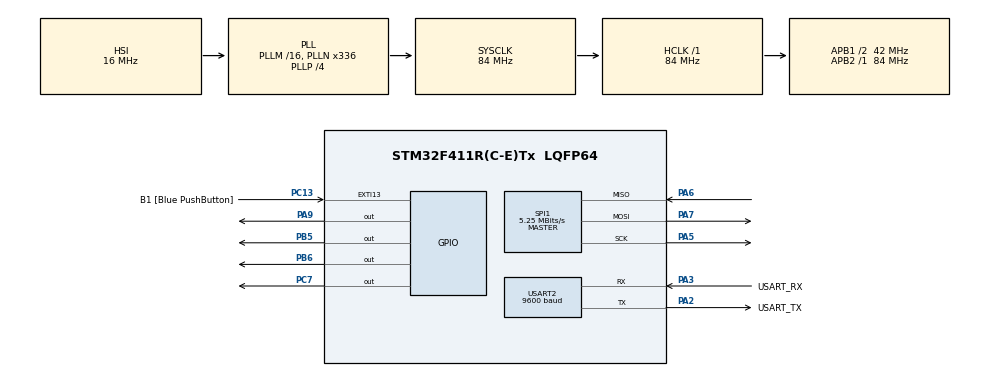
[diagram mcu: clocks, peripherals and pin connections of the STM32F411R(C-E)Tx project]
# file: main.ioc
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Mcu.Family=STM32F4
Mcu.Name=STM32F411R(C-E)Tx
Mcu.Package=LQFP64
NVIC.PriorityGroup=NVIC_PRIORITYGROUP_0
PA13.GPIO_Label=TMS
PA13.Signal=SYS_JTMS-SWDIO
PA14.GPIO_Label=TCK
PA14.Signal=SYS_JTCK-SWCLK
PA2.GPIO_Label=USART_TX
PA2.Mode=Asynchronous
PA2.Signal=USART2_TX
PA3.GPIO_Label=USART_RX
PA3.Mode=Asynchronous
PA3.Signal=USART2_RX
PA5.Mode=Full_Duplex_Master
PA5.Signal=SPI1_SCK
PA6.Mode=Full_Duplex_Master
PA6.Signal=SPI1_MISO
PA7.Mode=Full_Duplex_Master
PA7.Signal=SPI1_MOSI
PA9.Signal=GPIO_Output
PB3.GPIO_Label=SWO
PB3.Signal=SYS_JTDO-SWO
PB5.Signal=GPIO_Output
PB6.Signal=GPIO_Output
PC13-ANTI_TAMP.GPIO_Label=B1 [Blue PushButton]
PC13-ANTI_TAMP.GPIO_ModeDefaultEXTI=GPIO_MODE_IT_FALLING
PC13-ANTI_TAMP.Signal=GPXTI13
PC14-OSC32_IN.Signal=RCC_OSC32_IN
PC15-OSC32_OUT.Signal=RCC_OSC32_OUT
PC7.Signal=GPIO_Output
PH0\ -\ OSC_IN.Signal=RCC_OSC_IN
PH1\ -\ OSC_OUT.Signal=RCC_OSC_OUT
ProjectManager.HeapSize=0x200
ProjectManager.StackSize=0x400
ProjectManager.TargetToolchain=Makefile
RCC.48MHZClocksFreq_Value=84000000
RCC.AHBFreq_Value=84000000
RCC.APB1CLKDivider=RCC_HCLK_DIV2
RCC.APB1Freq_Value=42000000
RCC.APB1TimFreq_Value=84000000
RCC.APB2Freq_Value=84000000
RCC.APB2TimFreq_Value=84000000
RCC.CortexFreq_Value=84000000
RCC.FLatency-AdvancedSettings=FLASH_LATENCY_2
RCC.HCLKFreq_Value=84000000
RCC.HSE_VALUE=8000000
RCC.HSI_VALUE=16000000
RCC.LSE_VALUE=32768
RCC.PLLN=336
RCC.PLLP=RCC_PLLP_DIV4
RCC.SYSCLKFreq_VALUE=84000000
RCC.SYSCLKSource=RCC_SYSCLKSOURCE_PLLCLK
RCC.VCOOutputFreq_Value=336000000
SPI1.BaudRatePrescaler=SPI_BAUDRATEPRESCALER_16
SPI1.CalculateBaudRate=5.25 MBits/s
SPI1.Direction=SPI_DIRECTION_2LINES
SPI1.Mode=SPI_MODE_MASTER
SPI1.VirtualType=VM_MASTER
USART2.BaudRate=9600
USART2.VirtualMode=VM_ASYNC
board=NUCLEO-F411RE

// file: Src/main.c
#include "main.h"
#include "stm32f4xx_hal.h"

/* USER CODE BEGIN Includes */
/* vim: set ai et ts=4 sw=4: */
#include <string.h>
#include <stdarg.h>
#include "sdcard.h"
#include "st7735.h"
#include "ff.h"
/* USER CODE END Includes */

SPI_HandleTypeDef hspi1;

UART_HandleTypeDef huart2;

/* USER CODE BEGIN PV */
/* Private variables ---------------------------------------------------------*/

/* USER CODE END PV */

void SystemClock_Config(void);
static void MX_GPIO_Init(void);
static void MX_SPI1_Init(void);
static void MX_USART2_UART_Init(void);

/* USER CODE BEGIN PFP */
/* Private function prototypes -----------------------------------------------*/

/* USER CODE END PFP */

/* USER CODE BEGIN 0 */

FATFS fs;

void UART_Printf(const char* fmt, ...) {
    char buff[256];
    va_list args;
    va_start(args, fmt);
    vsnprintf(buff, sizeof(buff), fmt, args);
    HAL_UART_Transmit(&huart2, (uint8_t*)buff, strlen(buff), HAL_MAX_DELAY);
    va_end(args);
}

int displayImage(const char* fname) {
    UART_Printf("Openning %s...\r\n", fname);
    FIL file;
    FRESULT res = f_open(&file, fname, FA_READ);
    if(res != FR_OK) {
        UART_Printf("f_open() failed, res = %d\r\n", res);
        return -1;
    }

    UART_Printf("File opened, reading...\r\n");

    unsigned int bytesRead;
    uint8_t header[34];
    res = f_read(&file, header, sizeof(header), &bytesRead);
    if(res != FR_OK) {
        UART_Printf("f_read() failed, res = %d\r\n", res);
        f_close(&file);
        return -2;
    }

    if((header[0] != 0x42) || (header[1] != 0x4D)) {
        UART_Printf("Wrong BMP signature: 0x%02X 0x%02X\r\n", header[0], header[1]);
        f_close(&file);
        return -3;
    }

    uint32_t imageOffset = header[10] | (header[11] << 8) | (header[12] << 16) | (header[13] << 24);
    uint32_t imageWidth = header[18] | (header[19] << 8) | (header[20] << 16) | (header[21] << 24);
    uint32_t imageHeight = header[22] | (header[23] << 8) | (header[24] << 16) | (header[25] << 24);
    uint16_t imagePlanes = header[26] | (header[27] << 8);
    uint16_t imageBitsPerPixel = header[28] | (header[29] << 8);
    uint32_t imageCompression = header[30] | (header[31] << 8) | (header[32] << 16) | (header[33] << 24);

    UART_Printf(
        "--- Image info ---\r\n"
        "Pixels offset: %lu\r\n"
        "WxH: %lux%lu\r\n"
        "Planes: %d\r\n"
        "Bits per pixel: %d\r\n"
        "Compression: %d\r\n"
        "------------------\r\n",
        imageOffset, imageWidth, imageHeight, imagePlanes, imageBitsPerPixel, imageCompression);

    if((imageWidth != ST7735_WIDTH) || (imageHeight != ST7735_HEIGHT)) {
        UART_Printf("Wrong BMP size, %dx%d expected\r\n", ST7735_WIDTH, ST7735_HEIGHT);
        f_close(&file);
        return -4;
    }

    if((imagePlanes != 1) || (imageBitsPerPixel != 24) || (imageCompression != 0)) {
        UART_Printf("Unsupported image format\r\n");
        f_close(&file);
        return -5;
    }

    res = f_lseek(&file, imageOffset);
    if(res != FR_OK) {
        UART_Printf("f_lseek() failed, res = %d\r\n", res);
        f_close(&file);
        return -6;
    }

    // row size is aligned to 4 bytes
    uint8_t imageRow[(ST7735_WIDTH * 3 + 3) & ~3];
    for(uint32_t y = 0; y < imageHeight; y++) {
        uint32_t rowIdx = 0;
        res = f_read(&file, imageRow, sizeof(imageRow), &bytesRead);
        if(res != FR_OK) {
            UART_Printf("f_read() failed, res = %d\r\n", res);
            f_close(&file);
            return -7;
        }

        for(uint32_t x = 0; x < imageWidth; x++) {
            uint8_t b = imageRow[rowIdx++];
            uint8_t g = imageRow[rowIdx++];
            uint8_t r = imageRow[rowIdx++];
            uint16_t color565 = ST7735_COLOR565(r, g, b);
            ST7735_DrawPixel(x, imageHeight - y - 1, color565);
        }
    }

    res = f_close(&file);
    if(res != FR_OK) {
        UART_Printf("f_close() failed, res = %d\r\n", res);
        return -8;
    }

    return 0;
}

int init() {
    // unselect all SPI devices first
    SDCARD_Unselect();
    ST7735_Unselect();

    // initialize SD-card as fast as possible, it glitches otherwise
    // (this is important only if SPI bus is shared by multiple devices)
    int code = SDCARD_Init();
    if(code < 0) {
        UART_Printf("SDCARD_Init() failed, code = %d\r\n", code);
        return -1;
    }

    ST7735_Init();
    ST7735_FillScreen(ST7735_BLACK);

    // mount the default drive
    FRESULT res = f_mount(&fs, "", 0);
    if(res != FR_OK) {
        UART_Printf("f_mount() failed, res = %d\r\n", res);
        return -2;
    }
    UART_Printf("f_mount() done!\r\n");

    return 0;
}

void loop() {
    displayImage("parrot.bmp");
    HAL_Delay(5000);
    displayImage("dolphin.bmp");
    HAL_Delay(5000);
    displayImage("monkey.bmp");
    HAL_Delay(5000);
}

/* USER CODE END 0 */

int main(void)
{

  /* MCU Configuration----------------------------------------------------------*/

  /* Reset of all peripherals, Initializes the Flash interface and the Systick. */
  HAL_Init();

  /* Configure the system clock */
  SystemClock_Config();

  /* Initialize all configured peripherals */
  MX_GPIO_Init();
  MX_SPI1_Init();
  MX_USART2_UART_Init();

  /* Infinite loop */
  /* USER CODE BEGIN WHILE */
  int code = init();
  if(code < 0) {
    UART_Printf("init() failed with code %d, terminating.\r\n", code);
    return 0;
  }

  while (1)
  {
    loop();
  /* USER CODE END WHILE */

  }

}

/** System Clock Configuration
*/
void SystemClock_Config(void)
{

  RCC_OscInitTypeDef RCC_OscInitStruct;
  RCC_ClkInitTypeDef RCC_ClkInitStruct;

    /**Configure the main internal regulator output voltage
    */
  __HAL_RCC_PWR_CLK_ENABLE();

  __HAL_PWR_VOLTAGESCALING_CONFIG(PWR_REGULATOR_VOLTAGE_SCALE1);

    /**Initializes the CPU, AHB and APB busses clocks
    */
  RCC_OscInitStruct.OscillatorType = RCC_OSCILLATORTYPE_HSI;
  RCC_OscInitStruct.HSIState = RCC_HSI_ON;
  RCC_OscInitStruct.HSICalibrationValue = 16;
  RCC_OscInitStruct.PLL.PLLState = RCC_PLL_ON;
  RCC_OscInitStruct.PLL.PLLSource = RCC_PLLSOURCE_HSI;
  RCC_OscInitStruct.PLL.PLLM = 16;
  RCC_OscInitStruct.PLL.PLLN = 336;
  RCC_OscInitStruct.PLL.PLLP = RCC_PLLP_DIV4;
  RCC_OscInitStruct.PLL.PLLQ = 4;
  if (HAL_RCC_OscConfig(&RCC_OscInitStruct) != HAL_OK)
  {
    _Error_Handler(__FILE__, __LINE__);
  }

    /**Initializes the CPU, AHB and APB busses clocks
    */
  RCC_ClkInitStruct.ClockType = RCC_CLOCKTYPE_HCLK|RCC_CLOCKTYPE_SYSCLK
                              |RCC_CLOCKTYPE_PCLK1|RCC_CLOCKTYPE_PCLK2;
  RCC_ClkInitStruct.SYSCLKSource = RCC_SYSCLKSOURCE_PLLCLK;
  RCC_ClkInitStruct.AHBCLKDivider = RCC_SYSCLK_DIV1;
  RCC_ClkInitStruct.APB1CLKDivider = RCC_HCLK_DIV2;
  RCC_ClkInitStruct.APB2CLKDivider = RCC_HCLK_DIV1;

  if (HAL_RCC_ClockConfig(&RCC_ClkInitStruct, FLASH_LATENCY_2) != HAL_OK)
  {
    _Error_Handler(__FILE__, __LINE__);
  }

    /**Configure the Systick interrupt time
    */
  HAL_SYSTICK_Config(HAL_RCC_GetHCLKFreq()/1000);

    /**Configure the Systick
    */
  HAL_SYSTICK_CLKSourceConfig(SYSTICK_CLKSOURCE_HCLK);

  /* SysTick_IRQn interrupt configuration */
  HAL_NVIC_SetPriority(SysTick_IRQn, 0, 0);
}

/* SPI1 init function */
static void MX_SPI1_Init(void)
{

  /* SPI1 parameter configuration*/
  hspi1.Instance = SPI1;
  hspi1.Init.Mode = SPI_MODE_MASTER;
  hspi1.Init.Direction = SPI_DIRECTION_2LINES;
  hspi1.Init.DataSize = SPI_DATASIZE_8BIT;
  hspi1.Init.CLKPolarity = SPI_POLARITY_LOW;
  hspi1.Init.CLKPhase = SPI_PHASE_1EDGE;
  hspi1.Init.NSS = SPI_NSS_SOFT;
  hspi1.Init.BaudRatePrescaler = SPI_BAUDRATEPRESCALER_16;
  hspi1.Init.FirstBit = SPI_FIRSTBIT_MSB;
  hspi1.Init.TIMode = SPI_TIMODE_DISABLE;
  hspi1.Init.CRCCalculation = SPI_CRCCALCULATION_DISABLE;
  hspi1.Init.CRCPolynomial = 10;
  if (HAL_SPI_Init(&hspi1) != HAL_OK)
  {
    _Error_Handler(__FILE__, __LINE__);
  }

}

/* USART2 init function */
static void MX_USART2_UART_Init(void)
{

  huart2.Instance = USART2;
  huart2.Init.BaudRate = 9600;
  huart2.Init.WordLength = UART_WORDLENGTH_8B;
  huart2.Init.StopBits = UART_STOPBITS_1;
  huart2.Init.Parity = UART_PARITY_NONE;
  huart2.Init.Mode = UART_MODE_TX_RX;
  huart2.Init.HwFlowCtl = UART_HWCONTROL_NONE;
  huart2.Init.OverSampling = UART_OVERSAMPLING_16;
  if (HAL_UART_Init(&huart2) != HAL_OK)
  {
    _Error_Handler(__FILE__, __LINE__);
  }

}

/** Configure pins as
        * Analog
        * Input
        * Output
        * EVENT_OUT
        * EXTI
*/
static void MX_GPIO_Init(void)
{

  GPIO_InitTypeDef GPIO_InitStruct;

  /* GPIO Ports Clock Enable */
  __HAL_RCC_GPIOC_CLK_ENABLE();
  __HAL_RCC_GPIOH_CLK_ENABLE();
  __HAL_RCC_GPIOA_CLK_ENABLE();
  __HAL_RCC_GPIOB_CLK_ENABLE();

  /*Configure GPIO pin Output Level */
  HAL_GPIO_WritePin(GPIOC, GPIO_PIN_7, GPIO_PIN_RESET);

  /*Configure GPIO pin Output Level */
  HAL_GPIO_WritePin(GPIOA, GPIO_PIN_9, GPIO_PIN_RESET);

  /*Configure GPIO pin Output Level */
  HAL_GPIO_WritePin(GPIOB, GPIO_PIN_5|GPIO_PIN_6, GPIO_PIN_RESET);

  /*Configure GPIO pin : B1_Pin */
  GPIO_InitStruct.Pin = B1_Pin;
  GPIO_InitStruct.Mode = GPIO_MODE_IT_FALLING;
  GPIO_InitStruct.Pull = GPIO_NOPULL;
  HAL_GPIO_Init(B1_GPIO_Port, &GPIO_InitStruct);

  /*Configure GPIO pin : PC7 */
  GPIO_InitStruct.Pin = GPIO_PIN_7;
  GPIO_InitStruct.Mode = GPIO_MODE_OUTPUT_PP;
  GPIO_InitStruct.Pull = GPIO_NOPULL;
  GPIO_InitStruct.Speed = GPIO_SPEED_FREQ_LOW;
  HAL_GPIO_Init(GPIOC, &GPIO_InitStruct);

  /*Configure GPIO pin : PA9 */
  GPIO_InitStruct.Pin = GPIO_PIN_9;
  GPIO_InitStruct.Mode = GPIO_MODE_OUTPUT_PP;
  GPIO_InitStruct.Pull = GPIO_NOPULL;
  GPIO_InitStruct.Speed = GPIO_SPEED_FREQ_LOW;
  HAL_GPIO_Init(GPIOA, &GPIO_InitStruct);

  /*Configure GPIO pins : PB5 PB6 */
  GPIO_InitStruct.Pin = GPIO_PIN_5|GPIO_PIN_6;
  GPIO_InitStruct.Mode = GPIO_MODE_OUTPUT_PP;
  GPIO_InitStruct.Pull = GPIO_NOPULL;
  GPIO_InitStruct.Speed = GPIO_SPEED_FREQ_LOW;
  HAL_GPIO_Init(GPIOB, &GPIO_InitStruct);

}

void _Error_Handler(char * file, int line)
{
  while(1)
  {
  }
}

/************************ (C) COPYRIGHT STMicroelectronics *****END OF FILE****/
